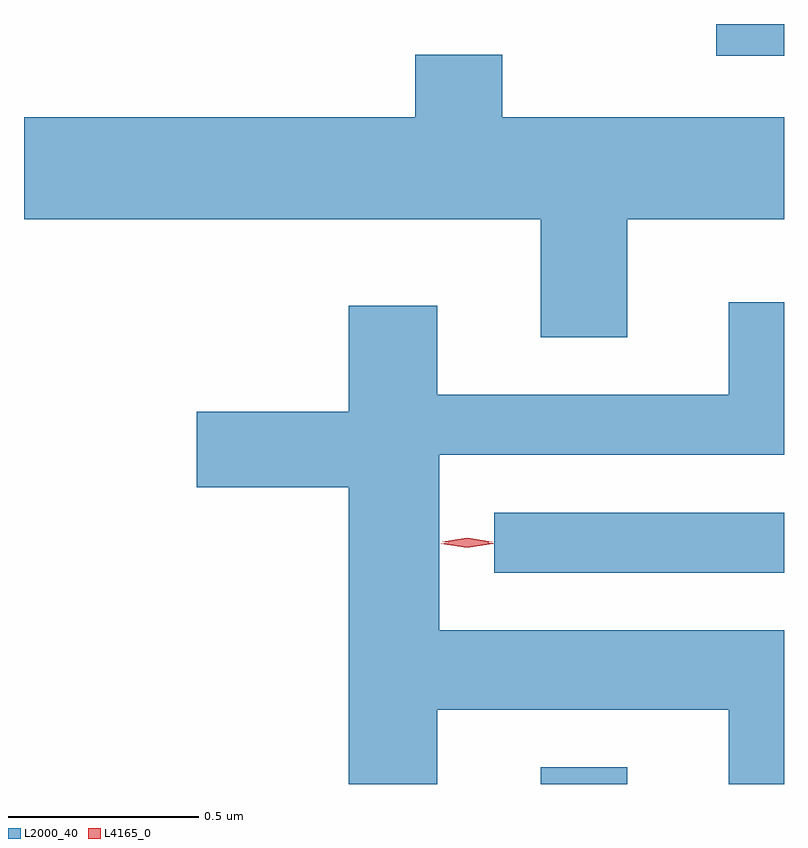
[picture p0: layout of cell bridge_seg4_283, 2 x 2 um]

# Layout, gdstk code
import gdstk
lib = gdstk.Library(unit=1e-6, precision=1e-09)
def R(c, l, rs):  # rectangles x0, y0, x1, y1
    for r in rs: c.add(gdstk.rectangle(r[:2], r[2:], *l))
def P(c, l, *ps):  # polygons
    for p in ps: c.add(gdstk.Polygon(p, *l))
L2000_40 = (2000, 40)
L4165_0 = (4165, 0)

bridge_seg4_283 = lib.new_cell('bridge_seg4_283')
R(bridge_seg4_283, L2000_40, [(401.911,1342.09,402.139,1342.134), (401.788,1342.646,402.551,1342.804), (402.373,1344.006,402.551,1344.09)])
P(bridge_seg4_283, L2000_40, [(402.139,1343.576),(402.551,1343.576),(402.551,1343.844),(401.809,1343.844),(401.809,1344.009),(401.581,1344.009),(401.581,1343.844),(400.551,1343.844),(400.551,1343.576),(401.911,1343.576),(401.911,1343.266),(402.139,1343.266)],
  [(401.639,1342.286),(402.406,1342.286),(402.406,1342.09),(402.551,1342.09),(402.551,1342.494),(401.644,1342.494),(401.644,1342.956),(402.551,1342.956),(402.551,1343.358),(402.406,1343.358),(402.406,1343.114),(401.639,1343.114),(401.639,1343.349),(401.406,1343.349),(401.406,1343.069),(401.006,1343.069),(401.006,1342.871),(401.406,1342.871),(401.406,1342.09),(401.639,1342.09)])
P(bridge_seg4_283, L4165_0, [(401.717,1342.712),(401.648,1342.722),(401.647,1342.722),(401.648,1342.722),(401.716,1342.732),(401.786,1342.723),(401.786,1342.722),(401.786,1342.722)],
  [(401.717,1342.718),(401.651,1342.727),(401.651,1342.728),(401.651,1342.728),(401.717,1342.738),(401.782,1342.728),(401.783,1342.728),(401.782,1342.727)])

lib.write_gds('bridge_seg4_283.gds')
